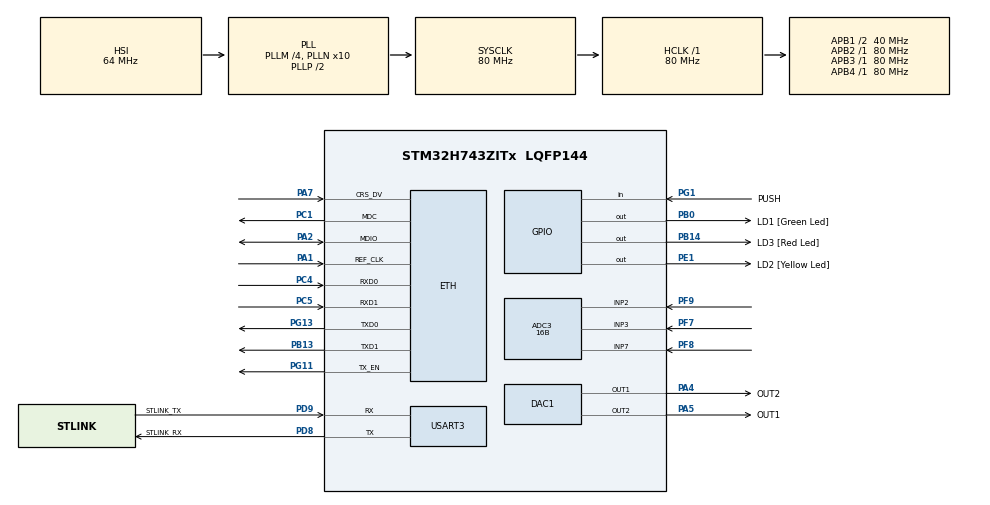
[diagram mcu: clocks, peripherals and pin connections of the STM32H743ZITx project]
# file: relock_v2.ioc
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ADC3.Channel-0\#ChannelRegularConversion=ADC_CHANNEL_2
ADC3.NbrOfConversion=1
ADC3.NbrOfConversionFlag=1
ADC3.OffsetNumber-0\#ChannelRegularConversion=ADC_OFFSET_NONE
ADC3.OffsetSignedSaturation-0\#ChannelRegularConversion=DISABLE
ADC3.Rank-0\#ChannelRegularConversion=1
ADC3.Resolution=ADC_RESOLUTION_16B
ADC3.SamplingTime-0\#ChannelRegularConversion=ADC_SAMPLETIME_1CYCLE_5
CORTEX_M7.AccessPermission-Cortex_Memory_Protection_Unit_Region0_Settings=MPU_REGION_FULL_ACCESS
CORTEX_M7.AccessPermission-Cortex_Memory_Protection_Unit_Region1_Settings=MPU_REGION_FULL_ACCESS
CORTEX_M7.BaseAddress-Cortex_Memory_Protection_Unit_Region0_Settings=0x30040000
CORTEX_M7.BaseAddress-Cortex_Memory_Protection_Unit_Region1_Settings=0x30044000
CORTEX_M7.CPU_DCache=Enabled
CORTEX_M7.CPU_ICache=Enabled
CORTEX_M7.Enable-Cortex_Memory_Protection_Unit_Region0_Settings=MPU_REGION_ENABLE
CORTEX_M7.Enable-Cortex_Memory_Protection_Unit_Region1_Settings=MPU_REGION_ENABLE
CORTEX_M7.IsBufferable-Cortex_Memory_Protection_Unit_Region0_Settings=MPU_ACCESS_BUFFERABLE
CORTEX_M7.IsShareable-Cortex_Memory_Protection_Unit_Region1_Settings=MPU_ACCESS_SHAREABLE
CORTEX_M7.MPU_Control=MPU_PRIVILEGED_DEFAULT
CORTEX_M7.Size-Cortex_Memory_Protection_Unit_Region0_Settings=MPU_REGION_SIZE_256B
CORTEX_M7.Size-Cortex_Memory_Protection_Unit_Region1_Settings=MPU_REGION_SIZE_16KB
CORTEX_M7.TypeExtField-Cortex_Memory_Protection_Unit_Region1_Settings=MPU_TEX_LEVEL1
DAC1.DAC_Channel-DAC_OUT1=DAC_CHANNEL_1
DAC1.DAC_Channel-DAC_OUT2=DAC_CHANNEL_2
ETH.MACAddr=02\:00\:00\:03\:00\:24
ETH.MediaInterface=HAL_ETH_RMII_MODE
ETH.RxBuffAddress=0x30040200
LWIP.BSP.number=1
LWIP.GATEWAY_ADDRESS=000.000.000.000
LWIP.IP_ADDRESS=192.168.003.024
LWIP.LWIP_DHCP=1
LWIP.NETMASK_ADDRESS=255.255.255.000
LWIP.Version=v2.1.2_Cube
LWIP0.BSP.STBoard=false
LWIP0.BSP.api=BSP_COMPONENT_DRIVER
LWIP0.BSP.component=LAN8742
LWIP0.BSP.instance=LAN8742
LWIP0.BSP.name=Driver_PHY
LWIP0.BSP.solution=LAN8742
Mcu.Family=STM32H7
Mcu.Name=STM32H743ZITx
Mcu.Package=LQFP144
NVIC.ETH_IRQn=true\:5\:0\:true\:false\:true\:true\:true\:true
NVIC.PriorityGroup=NVIC_PRIORITYGROUP_4
NVIC.TIM6_DAC_IRQn=true\:15\:0\:false\:false\:true\:false\:true\:true
NVIC.TIM7_IRQn=true\:0\:0\:false\:false\:true\:true\:true\:true
NVIC.TimeBase=TIM6_DAC_IRQn
NVIC.TimeBaseIP=TIM6
PA1.GPIO_Speed=GPIO_SPEED_FREQ_HIGH
PA1.Mode=RMII
PA1.Signal=ETH_REF_CLK
PA2.GPIO_Speed=GPIO_SPEED_FREQ_HIGH
PA2.Mode=RMII
PA2.Signal=ETH_MDIO
PA4.GPIO_Label=OUT2
PA4.Signal=COMP_DAC11_group
PA5.GPIO_Label=OUT1
PA5.Signal=COMP_DAC12_group
PA7.GPIO_Speed=GPIO_SPEED_FREQ_HIGH
PA7.Mode=RMII
PA7.Signal=ETH_CRS_DV
PB0.GPIO_Label=LD1 [Green Led]
PB0.GPIO_Speed=GPIO_SPEED_FREQ_VERY_HIGH
PB0.Signal=GPIO_Output
PB13.GPIO_Speed=GPIO_SPEED_FREQ_HIGH
PB13.Mode=RMII
PB13.Signal=ETH_TXD1
PB14.GPIO_Label=LD3 [Red Led]
PB14.GPIO_Speed=GPIO_SPEED_FREQ_VERY_HIGH
PB14.Signal=GPIO_Output
PC1.GPIO_Speed=GPIO_SPEED_FREQ_HIGH
PC1.Mode=RMII
PC1.Signal=ETH_MDC
PC4.GPIO_Speed=GPIO_SPEED_FREQ_HIGH
PC4.Mode=RMII
PC4.Signal=ETH_RXD0
PC5.GPIO_Speed=GPIO_SPEED_FREQ_HIGH
PC5.Mode=RMII
PC5.Signal=ETH_RXD1
PD8.GPIO_Label=STLINK_RX
PD8.GPIO_Speed=GPIO_SPEED_FREQ_HIGH
PD8.Mode=Asynchronous
PD8.Signal=USART3_TX
PD9.GPIO_Label=STLINK_TX
PD9.GPIO_Speed=GPIO_SPEED_FREQ_HIGH
PD9.Mode=Asynchronous
PD9.Signal=USART3_RX
PE1.GPIO_Label=LD2 [Yellow Led]
PE1.GPIO_Speed=GPIO_SPEED_FREQ_VERY_HIGH
PE1.Signal=GPIO_Output
PF7.Mode=IN3-Single-Ended
PF7.Signal=ADC3_INP3
PF8.Mode=IN7-Single-Ended
PF8.Signal=ADC3_INP7
PF9.Mode=IN2-Single-Ended
PF9.Signal=ADC3_INP2
PG1.GPIO_Label=PUSH
PG1.GPIO_PuPd=GPIO_PULLUP
PG1.Signal=GPIO_Input
PG11.GPIO_Speed=GPIO_SPEED_FREQ_HIGH
PG11.Mode=RMII
PG11.Signal=ETH_TX_EN
PG13.GPIO_Speed=GPIO_SPEED_FREQ_HIGH
PG13.Mode=RMII
PG13.Signal=ETH_TXD0
PH0-OSC_IN\ (PH0).Signal=RCC_OSC_IN
ProjectManager.HeapSize=0x200
ProjectManager.StackSize=0x400
ProjectManager.TargetToolchain=STM32CubeIDE
RCC.ADCFreq_Value=40000000
RCC.APB1Freq_Value=40000000
RCC.APB2Freq_Value=80000000
RCC.APB3Freq_Value=80000000
RCC.APB4Freq_Value=80000000
RCC.CortexFreq_Value=80000000
RCC.D2PPRE1=RCC_APB1_DIV2
RCC.DIVM1=4
RCC.DIVM2=4
RCC.DIVN1=10
RCC.DIVN2=10
RCC.DIVP2=4
RCC.HCLKFreq_Value=80000000
RCC.HSE_VALUE=8000000
RCC.PLL2FRACN=0
RCC.PLL3FRACN=0
RCC.PLLFRACN=0
RCC.SYSCLKFreq_VALUE=80000000
RCC.SYSCLKSource=RCC_SYSCLKSOURCE_PLLCLK
RCC.SupplySource=PWR_LDO_SUPPLY
RCC.USBFreq_Value=80000000
SH.COMP_DAC11_group.0=DAC1_OUT1,DAC_OUT1
SH.COMP_DAC12_group.0=DAC1_OUT2,DAC_OUT2
TIM7.Period=300
TIM7.Prescaler=80
USART3.VirtualMode-Asynchronous=VM_ASYNC
VP_LWIP_VS_Enabled.Mode=Enabled
VP_SYS_VS_tim6.Mode=TIM6
VP_TIM7_VS_ClockSourceINT.Mode=Enable_Timer
board=NUCLEO-H743ZI2

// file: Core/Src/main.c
/* USER CODE BEGIN Header */
/**
  ******************************************************************************
  * @file           : main.c
  * @brief          : Main program body
  ******************************************************************************
  * @attention
  *
  * Copyright (c) 2022 STMicroelectronics.
  * All rights reserved.
  *
  * This software is licensed under terms that can be found in the LICENSE file
  * in the root directory of this software component.
  * If no LICENSE file comes with this software, it is provided AS-IS.
  *
  ******************************************************************************
  */
/* USER CODE END Header */
#include "main.h"
#include "lwip.h"

/* USER CODE BEGIN Includes */
//#include "lwip/sockets.h"          <----
//#include <string.h>
#include "tcpServerRAW.h"
#include "tcpClientRAW.h"
#include "interface.h"
//#include <stdio.h>
//#include <stdlib.h>
/* USER CODE END Includes */

/* USER CODE BEGIN PD */
//#define PORT	5015          <----
#define FLASH_PARAM_START_ADDR  ((uint32_t)0x081E0000)  // bank 2, sektor 7
#define FLASH_WORD_SIZE        (32)  // Flash word = 256-bit = 32 bytes
/* USER CODE END PD */

ADC_HandleTypeDef hadc3;

DAC_HandleTypeDef hdac1;

TIM_HandleTypeDef htim7;

UART_HandleTypeDef huart3;

/* USER CODE BEGIN PV */

void Flash_Write_Params(uint32_t address, parameters *data) {
  HAL_FLASH_Unlock();  // Odblokowanie pamięci flash

  FLASH_EraseInitTypeDef eraseInitStruct;
  uint32_t sectorError;

  // Kasowanie sektora przed zapisem
  eraseInitStruct.TypeErase    = FLASH_TYPEERASE_SECTORS;
  eraseInitStruct.Banks        = FLASH_BANK_2;  // **Bank 2**
  eraseInitStruct.Sector       = FLASH_SECTOR_7;  // **Sektor 7**
  eraseInitStruct.NbSectors    = 1;
  eraseInitStruct.VoltageRange = FLASH_VOLTAGE_RANGE_3;

  if (HAL_FLASHEx_Erase(&eraseInitStruct, &sectorError) != HAL_OK) {
      HAL_FLASH_Lock();
      return;  // Błąd kasowania
  }

  uint64_t *data_ptr = (uint64_t*)data;
  uint64_t flash_word[4];
  for (uint32_t i = 0; i < sizeof(parameters) / 8; i += 4) {
      flash_word[0] = (i < sizeof(parameters) / 8) ? data_ptr[i] : 0xFFFFFFFFFFFFFFFF;
      flash_word[1] = (i + 1 < sizeof(parameters) / 8) ? data_ptr[i + 1] : 0xFFFFFFFFFFFFFFFF;
      flash_word[2] = (i + 2 < sizeof(parameters) / 8) ? data_ptr[i + 2] : 0xFFFFFFFFFFFFFFFF;
      flash_word[3] = (i + 3 < sizeof(parameters) / 8) ? data_ptr[i + 3] : 0xFFFFFFFFFFFFFFFF;

      if (HAL_FLASH_Program(FLASH_TYPEPROGRAM_FLASHWORD, address + i * 8, (uint64_t)flash_word) != HAL_OK) {
          HAL_FLASH_Lock();
          return;  // Błąd zapisu
      }
  }

  HAL_FLASH_Lock();  // Zablokowanie pamięci flash
}

void Flash_Read_Params(uint32_t address, parameters *data) {
  memcpy(data, (void*)address, sizeof(parameters));  // Odczytaj całą strukturę
}

uint32_t Flash_Read_Version(uint32_t address) {
  return *(volatile double*)address;  // Odczytaj pierwsze 4 bajty
}

/* USER CODE END PV */

void SystemClock_Config(void);
static void MPU_Config(void);
static void MX_GPIO_Init(void);
static void MX_USART3_UART_Init(void);
static void MX_TIM7_Init(void);
static void MX_DAC1_Init(void);
static void MX_ADC3_Init(void);

/* USER CODE BEGIN 0 */

uint32_t adcChannels[3] = {
    ADC_CHANNEL_2,  // ADC3_INP2
    ADC_CHANNEL_3,  // ADC3_INP3
    ADC_CHANNEL_7   // ADC3_INP7
};

uint32_t adcResults[3];

volatile int data_received_flag = 0;

extern struct netif gnetif;
extern parameters par;
int32_t raw;

int raw1 = 0;
int raw2 = 0;
int tim7_cnt = 0;

char received_text[100];

void Read_ADC_Values();
/* USER CODE END 0 */

int main(void)
{

  /* MPU Configuration--------------------------------------------------------*/
  MPU_Config();

  /* Enable I-Cache---------------------------------------------------------*/
  SCB_EnableICache();

  /* Enable D-Cache---------------------------------------------------------*/
  SCB_EnableDCache();

  /* MCU Configuration--------------------------------------------------------*/

  /* Reset of all peripherals, Initializes the Flash interface and the Systick. */
  HAL_Init();

  /* Configure the system clock */
  SystemClock_Config();

  /* Initialize all configured peripherals */
  MX_GPIO_Init();
  MX_USART3_UART_Init();
  MX_LWIP_Init();
  MX_TIM7_Init();
  MX_DAC1_Init();
  MX_ADC3_Init();
  /* USER CODE BEGIN 2 */

  tcp_server_init();
  initInterface();

  // read par from flash
  if (par.version != Flash_Read_Version(FLASH_PARAM_START_ADDR)){
    Flash_Write_Params(FLASH_PARAM_START_ADDR, &par);
  }
  else{
    Flash_Read_Params(FLASH_PARAM_START_ADDR, &par);
  }

  HAL_DAC_Start(&hdac1, DAC_CHANNEL_2);
  HAL_DAC_SetValue(&hdac1, DAC_CHANNEL_2, DAC_ALIGN_12B_R, 1000);

  HAL_DAC_Start(&hdac1, DAC_CHANNEL_1);
  HAL_DAC_SetValue(&hdac1, DAC_CHANNEL_1, DAC_ALIGN_12B_R, 1000);

  HAL_TIM_Base_Start_IT(&htim7);

  /* USER CODE END 2 */

  /* Infinite loop */
  while (1)
  {

    /* USER CODE BEGIN 3 */
	  ethernetif_input(&gnetif);
	  sys_check_timeouts();

    if (par.save.val == 1){
      par.save.val = 0;
      Flash_Write_Params(FLASH_PARAM_START_ADDR, &par);
    }
    if (par.load.val == 1){
      par.load.val = 0;
      Flash_Read_Params(FLASH_PARAM_START_ADDR, &par);
    }
	}
  /* USER CODE END 3 */
}

void SystemClock_Config(void)
{
  RCC_OscInitTypeDef RCC_OscInitStruct = {0};
  RCC_ClkInitTypeDef RCC_ClkInitStruct = {0};

  /** Supply configuration update enable
  */
  HAL_PWREx_ConfigSupply(PWR_LDO_SUPPLY);
  /** Configure the main internal regulator output voltage
  */
  __HAL_PWR_VOLTAGESCALING_CONFIG(PWR_REGULATOR_VOLTAGE_SCALE3);

  while(!__HAL_PWR_GET_FLAG(PWR_FLAG_VOSRDY)) {}
  /** Macro to configure the PLL clock source
  */
  __HAL_RCC_PLL_PLLSOURCE_CONFIG(RCC_PLLSOURCE_HSI);
  /** Initializes the RCC Oscillators according to the specified parameters
  * in the RCC_OscInitTypeDef structure.
  */
  RCC_OscInitStruct.OscillatorType = RCC_OSCILLATORTYPE_HSI;
  RCC_OscInitStruct.HSIState = RCC_HSI_DIV1;
  RCC_OscInitStruct.HSICalibrationValue = RCC_HSICALIBRATION_DEFAULT;
  RCC_OscInitStruct.PLL.PLLState = RCC_PLL_ON;
  RCC_OscInitStruct.PLL.PLLSource = RCC_PLLSOURCE_HSI;
  RCC_OscInitStruct.PLL.PLLM = 4;
  RCC_OscInitStruct.PLL.PLLN = 10;
  RCC_OscInitStruct.PLL.PLLP = 2;
  RCC_OscInitStruct.PLL.PLLQ = 2;
  RCC_OscInitStruct.PLL.PLLR = 2;
  RCC_OscInitStruct.PLL.PLLRGE = RCC_PLL1VCIRANGE_3;
  RCC_OscInitStruct.PLL.PLLVCOSEL = RCC_PLL1VCOMEDIUM;
  RCC_OscInitStruct.PLL.PLLFRACN = 0;
  if (HAL_RCC_OscConfig(&RCC_OscInitStruct) != HAL_OK)
  {
    Error_Handler();
  }
  /** Initializes the CPU, AHB and APB buses clocks
  */
  RCC_ClkInitStruct.ClockType = RCC_CLOCKTYPE_HCLK|RCC_CLOCKTYPE_SYSCLK
                              |RCC_CLOCKTYPE_PCLK1|RCC_CLOCKTYPE_PCLK2
                              |RCC_CLOCKTYPE_D3PCLK1|RCC_CLOCKTYPE_D1PCLK1;
  RCC_ClkInitStruct.SYSCLKSource = RCC_SYSCLKSOURCE_PLLCLK;
  RCC_ClkInitStruct.SYSCLKDivider = RCC_SYSCLK_DIV1;
  RCC_ClkInitStruct.AHBCLKDivider = RCC_HCLK_DIV1;
  RCC_ClkInitStruct.APB3CLKDivider = RCC_APB3_DIV1;
  RCC_ClkInitStruct.APB1CLKDivider = RCC_APB1_DIV2;
  RCC_ClkInitStruct.APB2CLKDivider = RCC_APB2_DIV1;
  RCC_ClkInitStruct.APB4CLKDivider = RCC_APB4_DIV1;

  if (HAL_RCC_ClockConfig(&RCC_ClkInitStruct, FLASH_LATENCY_1) != HAL_OK)
  {
    Error_Handler();
  }
}

static void MX_ADC3_Init(void)
{

  ADC_ChannelConfTypeDef sConfig = {0};

  /** Common config
  */
  hadc3.Instance = ADC3;
  hadc3.Init.ClockPrescaler = ADC_CLOCK_ASYNC_DIV1;
  hadc3.Init.Resolution = ADC_RESOLUTION_16B;
  hadc3.Init.ScanConvMode = ADC_SCAN_DISABLE;
  hadc3.Init.EOCSelection = ADC_EOC_SINGLE_CONV;
  hadc3.Init.LowPowerAutoWait = DISABLE;
  hadc3.Init.ContinuousConvMode = DISABLE;
  hadc3.Init.NbrOfConversion = 1;
  hadc3.Init.DiscontinuousConvMode = DISABLE;
  hadc3.Init.ExternalTrigConv = ADC_SOFTWARE_START;
  hadc3.Init.ExternalTrigConvEdge = ADC_EXTERNALTRIGCONVEDGE_NONE;
  hadc3.Init.ConversionDataManagement = ADC_CONVERSIONDATA_DR;
  hadc3.Init.Overrun = ADC_OVR_DATA_PRESERVED;
  hadc3.Init.LeftBitShift = ADC_LEFTBITSHIFT_NONE;
  hadc3.Init.OversamplingMode = DISABLE;
  if (HAL_ADC_Init(&hadc3) != HAL_OK)
  {
    Error_Handler();
  }
  /** Configure Regular Channel
  */
  sConfig.Channel = ADC_CHANNEL_2;
  sConfig.Rank = ADC_REGULAR_RANK_1;
  sConfig.SamplingTime = ADC_SAMPLETIME_1CYCLE_5;
  sConfig.SingleDiff = ADC_SINGLE_ENDED;
  sConfig.OffsetNumber = ADC_OFFSET_NONE;
  sConfig.Offset = 0;
  sConfig.OffsetSignedSaturation = DISABLE;
  if (HAL_ADC_ConfigChannel(&hadc3, &sConfig) != HAL_OK)
  {
    Error_Handler();
  }

}

static void MX_DAC1_Init(void)
{

  DAC_ChannelConfTypeDef sConfig = {0};

  /** DAC Initialization
  */
  hdac1.Instance = DAC1;
  if (HAL_DAC_Init(&hdac1) != HAL_OK)
  {
    Error_Handler();
  }
  /** DAC channel OUT1 config
  */
  sConfig.DAC_SampleAndHold = DAC_SAMPLEANDHOLD_DISABLE;
  sConfig.DAC_Trigger = DAC_TRIGGER_NONE;
  sConfig.DAC_OutputBuffer = DAC_OUTPUTBUFFER_ENABLE;
  sConfig.DAC_ConnectOnChipPeripheral = DAC_CHIPCONNECT_DISABLE;
  sConfig.DAC_UserTrimming = DAC_TRIMMING_FACTORY;
  if (HAL_DAC_ConfigChannel(&hdac1, &sConfig, DAC_CHANNEL_1) != HAL_OK)
  {
    Error_Handler();
  }
  /** DAC channel OUT2 config
  */
  if (HAL_DAC_ConfigChannel(&hdac1, &sConfig, DAC_CHANNEL_2) != HAL_OK)
  {
    Error_Handler();
  }

}

static void MX_TIM7_Init(void)
{

  TIM_MasterConfigTypeDef sMasterConfig = {0};

  htim7.Instance = TIM7;
  htim7.Init.Prescaler = 80;
  htim7.Init.CounterMode = TIM_COUNTERMODE_UP;
  htim7.Init.Period = 300;
  htim7.Init.AutoReloadPreload = TIM_AUTORELOAD_PRELOAD_DISABLE;
  if (HAL_TIM_Base_Init(&htim7) != HAL_OK)
  {
    Error_Handler();
  }
  sMasterConfig.MasterOutputTrigger = TIM_TRGO_RESET;
  sMasterConfig.MasterSlaveMode = TIM_MASTERSLAVEMODE_DISABLE;
  if (HAL_TIMEx_MasterConfigSynchronization(&htim7, &sMasterConfig) != HAL_OK)
  {
    Error_Handler();
  }

}

static void MX_USART3_UART_Init(void)
{

  huart3.Instance = USART3;
  huart3.Init.BaudRate = 115200;
  huart3.Init.WordLength = UART_WORDLENGTH_8B;
  huart3.Init.StopBits = UART_STOPBITS_1;
  huart3.Init.Parity = UART_PARITY_NONE;
  huart3.Init.Mode = UART_MODE_TX_RX;
  huart3.Init.HwFlowCtl = UART_HWCONTROL_NONE;
  huart3.Init.OverSampling = UART_OVERSAMPLING_16;
  huart3.Init.OneBitSampling = UART_ONE_BIT_SAMPLE_DISABLE;
  huart3.Init.ClockPrescaler = UART_PRESCALER_DIV1;
  huart3.AdvancedInit.AdvFeatureInit = UART_ADVFEATURE_NO_INIT;
  if (HAL_UART_Init(&huart3) != HAL_OK)
  {
    Error_Handler();
  }
  if (HAL_UARTEx_SetTxFifoThreshold(&huart3, UART_TXFIFO_THRESHOLD_1_8) != HAL_OK)
  {
    Error_Handler();
  }
  if (HAL_UARTEx_SetRxFifoThreshold(&huart3, UART_RXFIFO_THRESHOLD_1_8) != HAL_OK)
  {
    Error_Handler();
  }
  if (HAL_UARTEx_DisableFifoMode(&huart3) != HAL_OK)
  {
    Error_Handler();
  }

}

static void MX_GPIO_Init(void)
{
  GPIO_InitTypeDef GPIO_InitStruct = {0};

  /* GPIO Ports Clock Enable */
  __HAL_RCC_GPIOF_CLK_ENABLE();
  __HAL_RCC_GPIOH_CLK_ENABLE();
  __HAL_RCC_GPIOC_CLK_ENABLE();
  __HAL_RCC_GPIOA_CLK_ENABLE();
  __HAL_RCC_GPIOB_CLK_ENABLE();
  __HAL_RCC_GPIOG_CLK_ENABLE();
  __HAL_RCC_GPIOD_CLK_ENABLE();
  __HAL_RCC_GPIOE_CLK_ENABLE();

  /*Configure GPIO pin Output Level */
  HAL_GPIO_WritePin(GPIOB, LD1_Pin|LD3_Pin, GPIO_PIN_RESET);

  /*Configure GPIO pin Output Level */
  HAL_GPIO_WritePin(LD2_GPIO_Port, LD2_Pin, GPIO_PIN_RESET);

  /*Configure GPIO pins : LD1_Pin LD3_Pin */
  GPIO_InitStruct.Pin = LD1_Pin|LD3_Pin;
  GPIO_InitStruct.Mode = GPIO_MODE_OUTPUT_PP;
  GPIO_InitStruct.Pull = GPIO_NOPULL;
  GPIO_InitStruct.Speed = GPIO_SPEED_FREQ_VERY_HIGH;
  HAL_GPIO_Init(GPIOB, &GPIO_InitStruct);

  /*Configure GPIO pin : PUSH_Pin */
  GPIO_InitStruct.Pin = PUSH_Pin;
  GPIO_InitStruct.Mode = GPIO_MODE_INPUT;
  GPIO_InitStruct.Pull = GPIO_PULLUP;
  HAL_GPIO_Init(PUSH_GPIO_Port, &GPIO_InitStruct);

  /*Configure GPIO pin : LD2_Pin */
  GPIO_InitStruct.Pin = LD2_Pin;
  GPIO_InitStruct.Mode = GPIO_MODE_OUTPUT_PP;
  GPIO_InitStruct.Pull = GPIO_NOPULL;
  GPIO_InitStruct.Speed = GPIO_SPEED_FREQ_VERY_HIGH;
  HAL_GPIO_Init(LD2_GPIO_Port, &GPIO_InitStruct);

}

/* USER CODE BEGIN 4 */

void Read_ADC_Values() {
    ADC_ChannelConfTypeDef sConfig;

    for (int i = 0; i < 3; i++) {
        // Konfiguracja kanału
        sConfig.Channel = adcChannels[i];
        sConfig.Rank = ADC_REGULAR_RANK_1;
        sConfig.SamplingTime = ADC_SAMPLETIME_64CYCLES_5;
        sConfig.SingleDiff = ADC_SINGLE_ENDED; // Single-ended
        sConfig.OffsetNumber = ADC_OFFSET_NONE; // Brak offsetu
        sConfig.Offset = 0;
        sConfig.OffsetSignedSaturation = DISABLE;

        if (HAL_ADC_ConfigChannel(&hadc3, &sConfig) != HAL_OK) {
            Error_Handler();
        }

        HAL_ADC_Start(&hadc3);
        if (HAL_ADC_PollForConversion(&hadc3, HAL_MAX_DELAY) == HAL_OK) {
            adcResults[i] = HAL_ADC_GetValue(&hadc3);
        }
        HAL_ADC_Stop(&hadc3);
    }
}

/* USER CODE END 4 */

/* MPU Configuration */

void MPU_Config(void)
{
  MPU_Region_InitTypeDef MPU_InitStruct = {0};

  /* Disables the MPU */
  HAL_MPU_Disable();
  /** Initializes and configures the Region and the memory to be protected
  */
  MPU_InitStruct.Enable = MPU_REGION_ENABLE;
  MPU_InitStruct.Number = MPU_REGION_NUMBER0;
  MPU_InitStruct.BaseAddress = 0x30040000;
  MPU_InitStruct.Size = MPU_REGION_SIZE_256B;
  MPU_InitStruct.SubRegionDisable = 0x0;
  MPU_InitStruct.TypeExtField = MPU_TEX_LEVEL0;
  MPU_InitStruct.AccessPermission = MPU_REGION_FULL_ACCESS;
  MPU_InitStruct.DisableExec = MPU_INSTRUCTION_ACCESS_ENABLE;
  MPU_InitStruct.IsShareable = MPU_ACCESS_NOT_SHAREABLE;
  MPU_InitStruct.IsCacheable = MPU_ACCESS_NOT_CACHEABLE;
  MPU_InitStruct.IsBufferable = MPU_ACCESS_BUFFERABLE;

  HAL_MPU_ConfigRegion(&MPU_InitStruct);
  /** Initializes and configures the Region and the memory to be protected
  */
  MPU_InitStruct.Number = MPU_REGION_NUMBER1;
  MPU_InitStruct.BaseAddress = 0x30044000;
  MPU_InitStruct.Size = MPU_REGION_SIZE_16KB;
  MPU_InitStruct.TypeExtField = MPU_TEX_LEVEL1;
  MPU_InitStruct.IsShareable = MPU_ACCESS_SHAREABLE;
  MPU_InitStruct.IsBufferable = MPU_ACCESS_NOT_BUFFERABLE;

  HAL_MPU_ConfigRegion(&MPU_InitStruct);
  /* Enables the MPU */
  HAL_MPU_Enable(MPU_PRIVILEGED_DEFAULT);

}

void HAL_TIM_PeriodElapsedCallback(TIM_HandleTypeDef *htim)
{
  if (htim->Instance == TIM6) {
    HAL_IncTick();
  }
  /* USER CODE BEGIN Callback 1 */
  if (htim->Instance == TIM7) {
	  HAL_GPIO_WritePin(LD1_GPIO_Port, LD1_Pin, SET);

    if par.p1.val < 1000{
      setParam(&par.p1, par.p1.val + 1);
    }
    else{
      setParam(&par.p1, 0);
    }

    if par.p2.val < 1000{
      setParam(&par.p2, par.p2.val + 1);
    }
    else{
      setParam(&par.p2, 0);
    }

    // get adc values
    Read_ADC_Values();
	  par.in1.val = (double)adcResults[0]; // signal for unlimited
    par.in2.val = (double)adcResults[1]; // transimission signal
    par.in3.val = (double)adcResults[2];

    //check switch status
    if(HAL_GPIO_ReadPin(PUSH_GPIO_Port, PUSH_Pin)==GPIO_PIN_SET){
      par.sw_on.val = 0;
    }else{
      par.sw_on.val = 1;
    }

    if (par.sw_allow.val == 1){
      setParam(&par.work, par.sw_on.val);
    }

    // if (par.sw_on.val != par.last_sw_on.val){
    //   // par.unl.on.val = par.sw_on.val;
    // }
    // par.last_sw_on.val = par.sw_on.val;

    if (par.wlm.on.val == 1 && par.work.val == 1 ){
      // reading wavelength
      if (tim7_cnt > par.wlm.mcnt.val ){
        tim7_cnt = 0;
        set_test_message((int)par.wlm.ch.val);
        tcp_client_init(received_text);
        par.wlm.f.val = atofmy(received_text);
        received_text[0] = '\0';
        // check if locked
        if (fabs(par.wlm.f.val - par.wlm.fset.val) < par.wlm.okdif.val){
          setParam(&par.wlm.ok, 1);
        }
        else{
          setParam(&par.wlm.ok, 0);
        }

        if (par.wlm.ok.val == 0 && par.wlm.lock.allow.val == 1 && par.rlc.locked.val == 0){
          setParam(&par.wlm.lock.on, 1);
        }
      }

      // wlm lock
      if (tim7_cnt > par.wlm.lock.mcnt.val && par.wlm.lock.on.val == 1 && par.wlm.lock.allow.val == 1){
        tim7_cnt = 0;
        set_test_message((int)par.wlm.ch.val);
        tcp_client_init(received_text);
        par.wlm.f.val = atofmy(received_text);
        received_text[0] = '\0';
        double err = par.wlm.f.val - par.wlm.fset.val;
        if (fabs(err) < par.wlm.maxdif.val){ // 0.01 -> 10 GHz
          setParam(&par.wlm.out, par.wlm.out.val + err * par.wlm.i.val);
        }
        // check if locked
        if (fabs(par.wlm.f.val - par.wlm.fset.val) < par.wlm.okdif.val){
          setParam(&par.wlm.ok, 1);
        }
        else{
          setParam(&par.wlm.ok, 0);
        }

        if (par.wlm.ok.val == 1){
          setParam(&par.wlm.lock.on, 0);
        }
      }

      tim7_cnt++;
    }

    // relock to cavity mode
    if (par.rlc.on.val == 1 && par.work.val == 1){
      // locked to cavity
      if (par.in2.val > par.rlc.tresh.val){
        // cav locked and wlm ok
        if( (par.wlm.on.val == 1 && par.wlm.ok.val == 1) || (par.wlm.on.val == 0)){
          setParam(&par.rlc.locked, 1);
          setParam(&par.scan.on, 0);
          setParam(&par.wlm.lock.on, 0);
          // check if cavity is locked for some time
          if (par.unl.allow.val == 1){
            if (par.rlc.cnt.val > par.rlc.mcnt.val){
              setParam(&par.unl.on, 1);
              setParam(&par.rlc.cnt, 0);
            }
            else{
              setParam(&par.rlc.cnt, par.rlc.cnt.val + 1);
            }
          }
        }
        // cav locked but wlm not ok
        else{
          setParam(&par.rlc.locked, 0);
          setParam(&par.unl.on, 0);
          setParam(&par.scan.on, 0);
          setParam(&par.rlc.cnt, 0); // reset lock counter
          if (par.wlm.on.val == 1 && par.wlm.lock.allow.val == 1){
            setParam(&par.wlm.lock.on, 1);
          }
        }
      }
      else{  // not locked to cavity
        setParam(&par.rlc.locked, 0); // not locked to cavity
        setParam(&par.rlc.cnt, 0); // reset lock counter
        setParam(&par.unl.on, 0); // turn off unlimited
        if( (par.wlm.on.val == 1 && par.wlm.ok.val == 1) || (par.wlm.on.val == 0)){
          setParam(&par.scan.on, 1); // turn on scan
        }
        else{
          setParam(&par.scan.on, 0);
        }
      }
    }

    //unlimited mode
    if (par.unl.on.val == 1 && par.work.val == 1){
      if (par.unl.last_on.val == 0){
        // if unlim turned on - save setting point and reset controller
        setParam(&par.unl.vset, par.in1.val);
        setParam(&par.unl.aerr, 0);
      }
      // controller: in1 - error signal,  out1 - pzt voltage
      setParam(&par.unl.err, par.in1.val - par.unl.vset.val);
      setParam(&par.unl.aerr, par.unl.aerr.val + par.unl.err.val);
      setParam(&par.unl.out, par.unl.I.val * par.unl.aerr.val);
    }
    else{
      setParam(&par.unl.on, 0); // need in case if work is off
      setParam(&par.unl.out, 0);
    }
    setParam(&par.unl.last_on, par.unl.on.val);

    // scan
    if (par.scan.on.val == 1 && par.work.val == 1){
      if (par.scan.dir.val == 1){
        if (par.scan.out.val + par.scan.step.val < par.scan.ampl.val){
          setParam(&par.scan.out, par.scan.out.val + par.scan.step.val);
        }
        else{
          par.scan.dir.val = -1;
        }
      }
      else{
        if (par.scan.out.val - par.scan.step.val > -par.scan.ampl.val){
          setParam(&par.scan.out, par.scan.out.val - par.scan.step.val);
        }
        else{
          par.scan.dir.val = 1;
        }
      }
    }

    if (par.work.val == 0){
      setParam(&par.wlm.out, 0);
      setParam(&par.unl.out, 0);
      setParam(&par.scan.out, 0);
    }

    // calculate out1 - piezo voltage
    setParam(&par.out1, par.scan.out.val + par.unl.out.val + par.wlm.out.val);

    // update DAC based on par.out1, par.out2
	  raw1 = (int)(2000 + par.out1.val*4000/12.0);
	  par.rout1.val = (double)raw1;
	  raw2 = (int)(2000 + par.out2.val*4000/12.0);
	  HAL_DAC_SetValue(&hdac1, DAC_CHANNEL_2, DAC_ALIGN_12B_R, raw1);
	  HAL_DAC_SetValue(&hdac1, DAC_CHANNEL_1, DAC_ALIGN_12B_R, raw2);

	  HAL_GPIO_WritePin(LD1_GPIO_Port, LD1_Pin, RESET);
    }
  /* USER CODE END Callback 1 */
}

void Error_Handler(void)
{
  __disable_irq();
  while (1)
  {
  }
}
